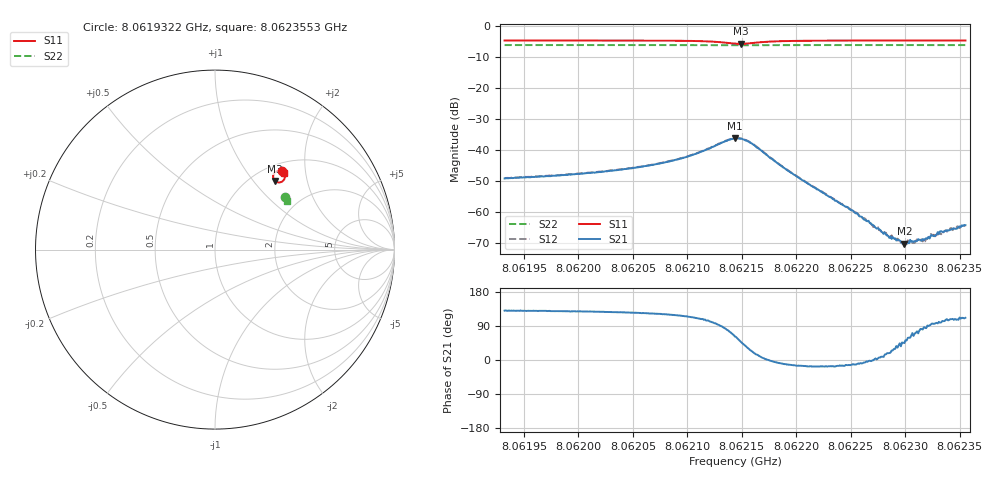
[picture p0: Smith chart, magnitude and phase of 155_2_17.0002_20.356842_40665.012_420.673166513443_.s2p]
#  HZ  S  RI  R  50.00
! Rohde & Schwarz Vector Network Analyzer
! Rohde-Schwarz,ZNB20-2Port,1311601062101988,3.16
! Created: UTC 3/20/2024, 10:59:00 PM
! freq[Hz]  re:S11  im:S11  re:S21  im:S21  re:S12  im:S12  re:S22  im:S22
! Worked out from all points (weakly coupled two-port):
!   401 points, 8.0619322 GHz to 8.0623553 GHz, reference 50 ohm
!   highest |S21| = -36.30 dB at 8.0621437 GHz (marker M1); lowest = -70.2 dB at 8.0622992 GHz (marker M2)
!   lowest |S11| = -5.9 dB at 8.062149 GHz (marker M3), VSWR 3.07, Z = 62.9 + j64.9 ohm
!   |S11| at or under -10 dB: nowhere
!   |S22| runs from -6.3 to -6.3 dB; largest |S21 - S12| = 0.0012
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8.06193219e9  0.3719 0.4395  -0.00223 0.00262  -0.00212 0.00277  0.3874 0.2922
8.06200306e9  0.3779 0.4337  -0.00255 0.00323  -0.0024 0.00345  0.3899 0.2887
8.0620422e9  0.3818 0.4289  -0.00285 0.00396  -0.00263 0.00421  0.3911 0.2867
8.06207393e9  0.3857 0.4225  -0.00314 0.00507  -0.00285 0.00532  0.3922 0.285
8.06210249e9  0.3892 0.4111  -0.00321 0.00734  -0.00281 0.00761  0.3932 0.2831
8.06212682e9  0.3837 0.3885  -0.00107 0.0119  -0.000313 0.0119  0.3932 0.281
8.06214374e9  0.3493 0.375  0.00721 0.0135  0.0079 0.0131  0.3922 0.2802
8.06214903e9  0.3345 0.3827  0.00999 0.0112  0.0108 0.0108  0.3918 0.2806
8.06215961e9  0.3241 0.4111  0.0116 0.00463  0.0118 0.00404  0.3921 0.2814
8.06218711e9  0.35 0.439  0.00528 -0.00089  0.00526 -0.00123  0.3945 0.2809
8.06221462e9  0.3643 0.4389  0.00246 -0.000778  0.00248 -0.000889  0.3961 0.2796
8.06225375e9  0.3737 0.4355  0.000948 -0.000197  0.000962 -0.000237  0.3977 0.2774
8.06227068e9  0.3763 0.4341  0.000611 -6.45e-06  0.000571 -3.45e-05  0.3982 0.2764
8.06228549e9  0.3782 0.4329  0.00036 0.000119  0.000387 0.000136  0.3987 0.2758
8.06229924e9  0.3798 0.4318  0.00022 0.000217  0.000207 0.000188  0.3992 0.2751
8.0623077e9  0.3806 0.4314  0.000146 0.000293  0.000132 0.000289  0.3995 0.2745
8.06231299e9  0.3811 0.4309  7.7e-05 0.000347  9.8e-05 0.000335  0.3997 0.2743
8.06231722e9  0.3815 0.4307  2.07e-05 0.000349  8.04e-05 0.000359  0.3998 0.2741
8.06232462e9  0.3823 0.4301  -4.51e-05 0.000413  -3.02e-05 0.000423  0.4001 0.2736
8.06233203e9  0.383 0.4297  -7.12e-05 0.000479  -6.23e-05 0.000442  0.4001 0.2732
8.06234684e9  0.3843 0.4286  -0.000151 0.000512  -0.000166 0.000528  0.4008 0.2726
8.0623553e9  0.385 0.4281  -0.000222 0.000568  -0.000193 0.000552  0.4011 0.2721
